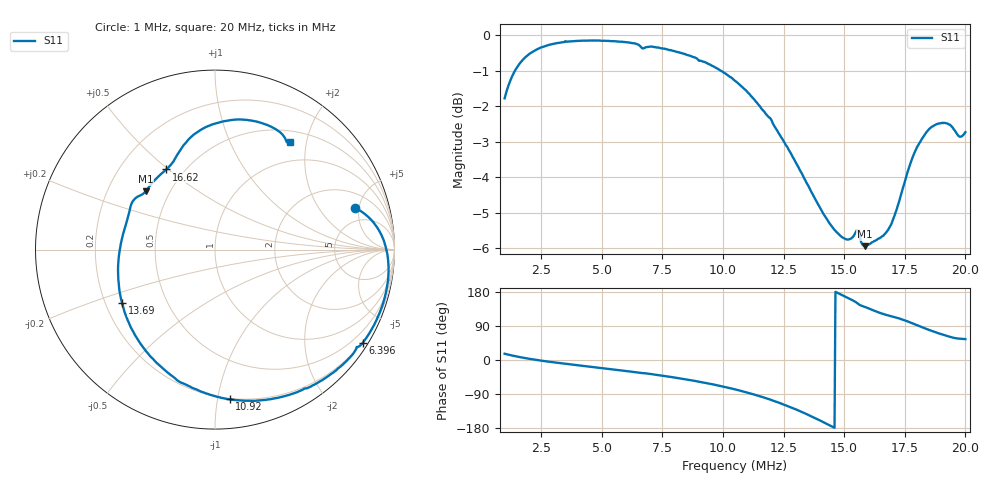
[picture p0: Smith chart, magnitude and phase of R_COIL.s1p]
!Keysight Technologies N9918A: A.12.56
!Date: Thursday, 10 July 2025 06:55:51
!TimeZone: (UTC-08:00) Pacific Time (US & Canada)!Model: N9918A
!Serial: MY56072139
!GPS Latitude:
!GPS Longitude:
!GPS TimeStamp: 0001-01-01 00:00:00Z
!GPS Seconds Since Last Read: 0
!CHECKSUM:1623457227
!Correction: S11(ON U)
!S1P File: Measurement: S11:
# Hz S DB R 50
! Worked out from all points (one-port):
!   501 points, 1 MHz to 20 MHz, reference 50 ohm
!   lowest |S11| = -5.9 dB at 15.86 MHz (marker M1), VSWR 3.04, Z = 18.4 + j16 ohm
!   |S11| at or under -10 dB: nowhere
!   S11 on the Smith chart (normalised r, x): 1 MHz: 3.30, +4.57; 6.396 MHz: 0.17, -3.45; 10.92 MHz: 0.19, -1.08; 13.69 MHz: 0.27, -0.25; 16.62 MHz: 0.40, +0.49; 20 MHz: 0.67, +1.72
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1000000  -1.78 16.5
1456000  -0.96 9.8
1950000  -0.56 3.9
2558000  -0.33 -2.2
3394000  -0.20 -9.2
4610000  -0.15 -18.3
5750000  -0.18 -26.9
6396000  -0.23 -32.3
7270000  -0.34 -39.2
8144000  -0.47 -47.6
9322000  -0.78 -60.9
1.05e7  -1.28 -77.4
1.0918e7  -1.53 -84.4
1.1944e7  -2.33 -104.3
1.2894e7  -3.44 -127.2
1.3692e7  -4.46 -150.0
1.4414e7  -5.31 -172.7
1.525e7  -5.73 160.7
1.563e7  -5.63 145.7
1.5858e7  -5.94 140.0
1.6618e7  -5.64 121.3
1.7112e7  -5.01 112.6
1.7644e7  -3.79 101.2
1.8062e7  -3.09 90.3
1.8556e7  -2.61 78.1
1.9392e7  -2.53 60.7
1.9696e7  -2.82 56.6
2e7  -2.73 55.1
